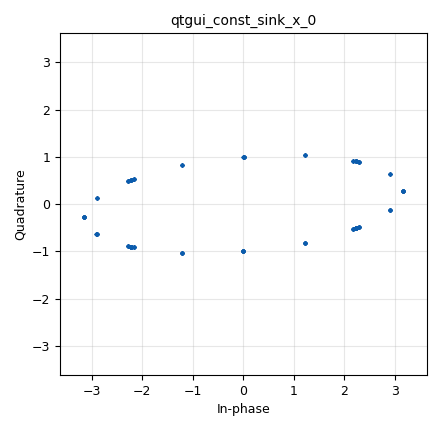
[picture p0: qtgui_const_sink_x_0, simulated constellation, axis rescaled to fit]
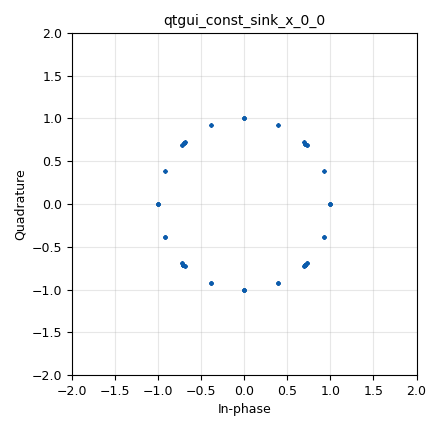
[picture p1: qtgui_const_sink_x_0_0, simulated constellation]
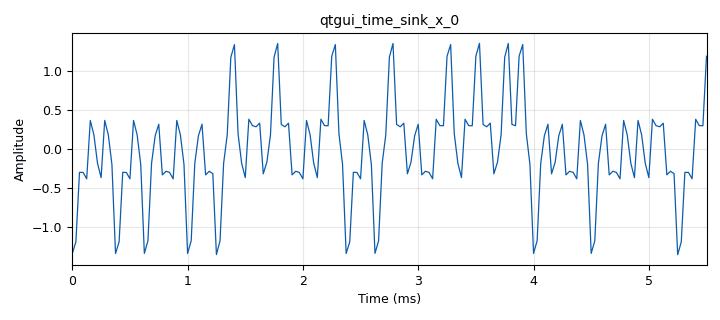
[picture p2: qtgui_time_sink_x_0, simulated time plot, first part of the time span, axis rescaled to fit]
<?xml version='1.0' encoding='utf-8'?>
<?grc format='1' created='3.7.10'?>
<flow_graph>
<block>
<key>options</key>
<param><key>id</key><value>top_block</value></param>
<param><key>generate_options</key><value>qt_gui</value></param>
</block>
<block>
<key>variable</key>
<param><key>id</key><value>samp_rate</value></param>
<param><key>value</key><value>32000</value></param>
</block>
<block>
<key>analog_quadrature_demod_cf</key>
<param><key>id</key><value>analog_quadrature_demod_cf_0</value></param>
<param><key>gain</key><value>1</value></param>
</block>
<block>
<key>analog_random_source_x</key>
<param><key>id</key><value>analog_random_source_x_0</value></param>
<param><key>max</key><value>256</value></param>
<param><key>min</key><value>0</value></param>
<param><key>num_samps</key><value>100000</value></param>
<param><key>type</key><value>byte</value></param>
<param><key>repeat</key><value>True</value></param>
</block>
<block>
<key>blocks_throttle</key>
<param><key>id</key><value>blocks_throttle_0</value></param>
<param><key>samples_per_second</key><value>samp_rate</value></param>
<param><key>type</key><value>complex</value></param>
</block>
<block>
<key>channels_impairments</key>
<param><key>id</key><value>channels_impairments_0</value></param>
<param><key>freq_offset</key><value>0</value></param>
<param><key>magbal</key><value>10</value></param>
<param><key>phasebal</key><value>5</value></param>
<param><key>i_ofs</key><value>0</value></param>
<param><key>phase_noise_mag</key><value>-100</value></param>
<param><key>q_ofs</key><value>0</value></param>
<param><key>gamma</key><value>0</value></param>
</block>
<block>
<key>digital_gmsk_mod</key>
<param><key>id</key><value>digital_gmsk_mod_0</value></param>
<param><key>bt</key><value>0.35</value></param>
<param><key>samples_per_symbol</key><value>2</value></param>
</block>
<block>
<key>qtgui_const_sink_x</key>
<param><key>id</key><value>qtgui_const_sink_x_0</value></param>
<param><key>size</key><value>1024</value></param>
<param><key>type</key><value>complex</value></param>
</block>
<block>
<key>qtgui_const_sink_x</key>
<param><key>id</key><value>qtgui_const_sink_x_0_0</value></param>
<param><key>size</key><value>1024</value></param>
<param><key>type</key><value>complex</value></param>
</block>
<block>
<key>qtgui_time_sink_x</key>
<param><key>id</key><value>qtgui_time_sink_x_0</value></param>
<param><key>color1</key><value>"blue"</value></param>
<param><key>label1</key><value></value></param>
<param><key>size</key><value>1024</value></param>
<param><key>srate</key><value>samp_rate</value></param>
<param><key>type</key><value>float</value></param>
</block>
<connection><source_block_id>analog_quadrature_demod_cf_0</source_block_id><sink_block_id>qtgui_time_sink_x_0</sink_block_id><source_key>0</source_key><sink_key>0</sink_key></connection>
<connection><source_block_id>analog_random_source_x_0</source_block_id><sink_block_id>digital_gmsk_mod_0</sink_block_id><source_key>0</source_key><sink_key>0</sink_key></connection>
<connection><source_block_id>blocks_throttle_0</source_block_id><sink_block_id>channels_impairments_0</sink_block_id><source_key>0</source_key><sink_key>0</sink_key></connection>
<connection><source_block_id>blocks_throttle_0</source_block_id><sink_block_id>qtgui_const_sink_x_0_0</sink_block_id><source_key>0</source_key><sink_key>0</sink_key></connection>
<connection><source_block_id>channels_impairments_0</source_block_id><sink_block_id>analog_quadrature_demod_cf_0</sink_block_id><source_key>0</source_key><sink_key>0</sink_key></connection>
<connection><source_block_id>channels_impairments_0</source_block_id><sink_block_id>qtgui_const_sink_x_0</sink_block_id><source_key>0</source_key><sink_key>0</sink_key></connection>
<connection><source_block_id>digital_gmsk_mod_0</source_block_id><sink_block_id>blocks_throttle_0</sink_block_id><source_key>0</source_key><sink_key>0</sink_key></connection>
</flow_graph>
